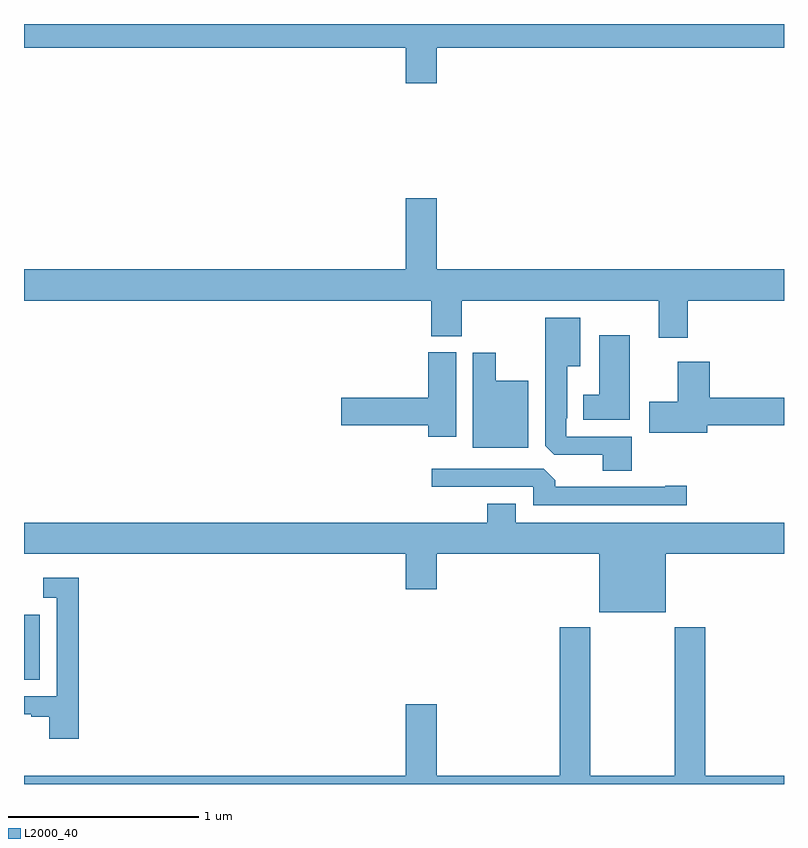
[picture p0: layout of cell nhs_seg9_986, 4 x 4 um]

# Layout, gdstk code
import gdstk
lib = gdstk.Library(unit=1e-6, precision=1e-09)
def R(c, l, rs):  # rectangles x0, y0, x1, y1
    for r in rs: c.add(gdstk.rectangle(r[:2], r[2:], *l))
def P(c, l, *ps):  # polygons
    for p in ps: c.add(gdstk.Polygon(p, *l))
L2000_40 = (2000, 40)

nhs_seg9_986 = lib.new_cell('nhs_seg9_986')
R(nhs_seg9_986, L2000_40, [(163,1237.048,163.084,1237.392)])
P(nhs_seg9_986, L2000_40, [(165.172,1240.376),(167,1240.376),(167,1240.5),(163,1240.5),(163,1240.376),(165.008,1240.376),(165.008,1240.188),(165.172,1240.188)],
  [(166.493,1239.044),(167,1239.044),(167,1239.208),(165.172,1239.208),(165.172,1239.583),(165.008,1239.583),(165.008,1239.208),(163,1239.208),(163,1239.044),(165.143,1239.044),(165.143,1238.857),(165.303,1238.857),(165.303,1239.044),(166.34,1239.044),(166.34,1238.85),(166.493,1238.85)],
  [(166.199,1238.328),(165.855,1238.328),(165.855,1238.425),(165.859,1238.425),(165.859,1238.699),(165.928,1238.699),(165.928,1238.953),(165.743,1238.953),(165.743,1238.281),(165.792,1238.232),(166.046,1238.232),(166.046,1238.149),(166.199,1238.149)],
  [(166.189,1238.863),(166.028,1238.863),(166.028,1238.548),(165.944,1238.548),(165.944,1238.417),(166.189,1238.417)],
  [(165.274,1238.772),(165.128,1238.772),(165.128,1238.534),(164.67,1238.534),(164.67,1238.387),(165.128,1238.387),(165.128,1238.328),(165.274,1238.328)],
  [(165.655,1238.623),(165.484,1238.623),(165.484,1238.77),(165.362,1238.77),(165.362,1238.27),(165.655,1238.27)],
  [(166.597,1238.387),(167,1238.387),(167,1238.534),(166.61,1238.534),(166.61,1238.722),(166.442,1238.722),(166.442,1238.511),(166.29,1238.511),(166.29,1238.348),(166.597,1238.348)],
  [(166.489,1238.069),(166.376,1238.069),(166.376,1238.064),(165.797,1238.064),(165.797,1238.098),(165.735,1238.16),(165.147,1238.16),(165.147,1238.064),(165.681,1238.064),(165.681,1237.968),(166.489,1237.968)],
  [(166.378,1237.712),(167,1237.712),(167,1237.876),(165.589,1237.876),(165.589,1237.975),(165.437,1237.975),(165.437,1237.876),(163,1237.876),(163,1237.712),(165.008,1237.712),(165.008,1237.524),(165.172,1237.524),(165.172,1237.712),(166.028,1237.712),(166.028,1237.403),(166.378,1237.403)],
  [(163.289,1237.585),(163.101,1237.585),(163.101,1237.479),(163.173,1237.479),(163.173,1236.963),(163,1236.963),(163,1236.867),(163.037,1236.867),(163.037,1236.855),(163.133,1236.855),(163.133,1236.738),(163.289,1236.738)],
  [(167,1236.544),(166.586,1236.544),(166.586,1237.324),(166.426,1237.324),(166.426,1236.544),(165.981,1236.544),(165.981,1237.324),(165.821,1237.324),(165.821,1236.544),(165.172,1236.544),(165.172,1236.919),(165.008,1236.919),(165.008,1236.544),(163,1236.544),(163,1236.5),(167,1236.5)])

lib.write_gds('nhs_seg9_986.gds')
